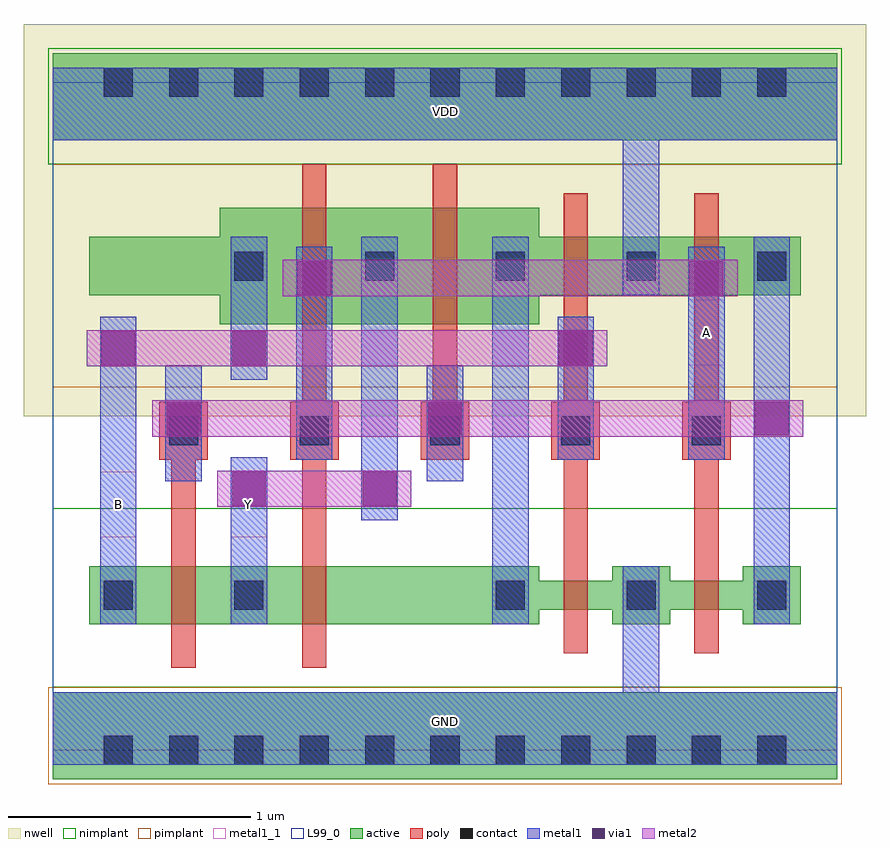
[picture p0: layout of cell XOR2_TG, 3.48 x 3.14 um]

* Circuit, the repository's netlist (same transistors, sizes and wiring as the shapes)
* TV3_CELLS/XOR2_TG: netlist from Virtuoso schematic
.SUBCKT XOR2_TG A B GND VDD Y
MMN3 Y A Bn GND nmos1v w=240n l=100n
MMN2 Y An B GND nmos1v w=240n l=100n
MMN1 Bn B GND GND nmos1v w=120n l=100n
MMN0 An A GND GND nmos1v w=120n l=100n
MMP3 Y An Bn VDD pmos1v w=480n l=100n
MMP2 Y A B VDD pmos1v w=480n l=100n
MMP1 Bn B VDD VDD pmos1v w=240n l=100n
MMP0 An A VDD VDD pmos1v w=240n l=100n
.ENDS XOR2_TG

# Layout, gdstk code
import gdstk
lib = gdstk.Library(unit=1e-6, precision=5e-10)
def R(c, l, rs):  # rectangles x0, y0, x1, y1
    for r in rs: c.add(gdstk.rectangle(r[:2], r[2:], *l))
def A(c, l, x, y, w, h, nx, ny, dx, dy):  # array of equal rectangles
    R(c, l, [(x+i*dx, y+j*dy, x+i*dx+w, y+j*dy+h) for i in range(nx) for j in range(ny)])
active = (1, 0)
nwell = (2, 0)
poly = (3, 0)
nimplant = (4, 0)
pimplant = (5, 0)
contact = (6, 0)
metal1 = (7, 0)
metal1_1 = (7, 1)
via1 = (8, 0)
metal2 = (9, 0)
L99_0 = (99, 0)

xor2_tg = lib.new_cell('XOR2_TG')
A(xor2_tg, active, 0.15, 0.52, 0.24, 0.24, 6, 1, 0.54, 0)
A(xor2_tg, active, 0.39, 0.52, 0.3, 0.24, 3, 1, 0.54, 0)
A(xor2_tg, active, 0.69, 1.76, 0.24, 0.48, 3, 1, 0.54, 0)
R(xor2_tg, active, [(0,-0.12,3.24,0.24), (2.01,0.58,2.31,0.7), (2.55,0.58,2.85,0.7), (0.93,1.76,1.23,2.24), (1.47,1.76,1.77,2.24), (0.15,1.88,0.39,2.12), (0.39,1.88,0.69,2.12), (2.01,1.88,2.31,2.12), (2.31,1.88,2.55,2.12), (2.55,1.88,2.85,2.12), (2.85,1.88,3.09,2.12), (0,2.52,3.24,2.88)])
R(xor2_tg, nwell, [(-0.12,1.38,3.36,3)])
A(xor2_tg, poly, 0.44, 1.2, 0.2, 0.24, 5, 1, 0.54, 0)
R(xor2_tg, poly, [(0.49,0.34,0.59,1.44), (1.03,0.34,1.13,2.42), (2.11,0.4,2.21,2.3), (2.65,0.4,2.75,2.3), (1.57,1.2,1.67,2.42)])
R(xor2_tg, nimplant, [(0,0.26,3.24,1), (-0.02,2.42,3.26,2.9)])
R(xor2_tg, pimplant, [(-0.02,-0.14,3.26,0.26), (0,1.5,3.24,2.42)])
A(xor2_tg, contact, 0.21, -0.06, 0.12, 0.12, 11, 2, 0.27, 2.76)
A(xor2_tg, contact, 1.83, 0.58, 0.12, 0.12, 3, 1, 0.54, 0)
A(xor2_tg, contact, 0.48, 1.26, 0.12, 0.12, 5, 1, 0.54, 0)
A(xor2_tg, contact, 0.75, 1.94, 0.12, 0.12, 5, 1, 0.54, 0)
R(xor2_tg, contact, [(0.21,0.58,0.33,0.7), (0.75,0.58,0.87,0.7)])
R(xor2_tg, metal1, [(0,-0.06,3.24,0.24), (2.355,0,2.505,0.76), (0.195,0.52,0.345,1.79), (0.735,0.52,0.885,1.21), (1.815,0.52,1.965,2.12), (2.895,0.52,3.045,2.12), (1.275,0.95,1.425,2.12), (0.465,1.11,0.615,1.59), (1.545,1.11,1.695,1.59), (1.005,1.2,1.155,2.08), (2.085,1.2,2.235,1.79), (2.625,1.2,2.775,2.08), (0.735,1.53,0.885,2.12), (2.355,1.88,2.505,2.76), (0,2.52,3.24,2.82)])
R(xor2_tg, metal1_1, [(0,0,3.24,0.24), (0.195,0.88,0.345,1.15), (0.735,0.88,0.885,1.15), (2.625,1.59,2.775,1.86), (0,2.52,3.24,2.76)])
R(xor2_tg, via1, [(0.74,1.01,0.88,1.15), (1.28,1.01,1.42,1.15), (0.47,1.3,0.61,1.44), (1.55,1.3,1.69,1.44), (2.9,1.3,3.04,1.44), (0.2,1.59,0.34,1.73), (0.74,1.59,0.88,1.73), (2.09,1.59,2.23,1.73), (1.01,1.88,1.15,2.02), (2.63,1.88,2.77,2.02)])
R(xor2_tg, metal2, [(0.68,1.005,1.48,1.155), (0.41,1.295,3.1,1.445), (0.14,1.585,2.29,1.735), (0.95,1.875,2.83,2.025)])
R(xor2_tg, L99_0, [(0,0,3.24,2.76)])
xor2_tg.add(gdstk.Label('Y', (0.81,1.015), layer=7, texttype=3))
xor2_tg.add(gdstk.Label('B', (0.27,1.015), layer=7, texttype=3))
xor2_tg.add(gdstk.Label('A', (2.7,1.725), layer=7, texttype=3))
xor2_tg.add(gdstk.Label('VDD', (1.62,2.64), layer=7, texttype=3))
xor2_tg.add(gdstk.Label('GND', (1.62,0.12), layer=7, texttype=3))

lib.write_gds('XOR2_TG.gds')
